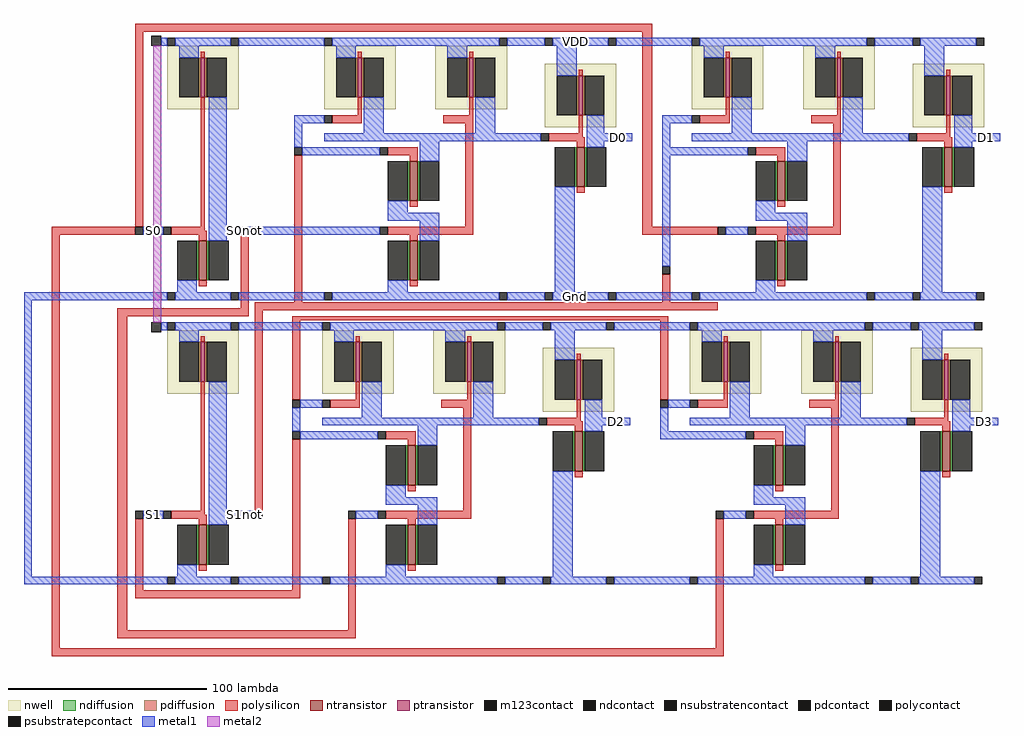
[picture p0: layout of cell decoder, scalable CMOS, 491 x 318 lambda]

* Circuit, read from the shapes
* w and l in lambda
.subckt decoder D0 D1 D2 D3 Gnd S0 S0not S1 S1not VDD
M1 S1not S1 Gnd Gnd nfet w=20 l=4
M2 S0not S0 Gnd Gnd nfet w=20 l=4
M3 n1 S0not Gnd Gnd nfet w=20 l=4
M4 n2 S1 n1 Gnd nfet w=20 l=4
M5 n3 S0not Gnd Gnd nfet w=20 l=4
M6 n4 S1not n3 Gnd nfet w=20 l=4
M7 D2 n2 Gnd Gnd nfet w=20 l=4
M8 D0 n4 Gnd Gnd nfet w=20 l=4
M9 n5 S0 Gnd Gnd nfet w=20 l=4
M10 n6 S1 n5 Gnd nfet w=20 l=4
M11 n7 S0 Gnd Gnd nfet w=20 l=4
M12 n8 S1not n7 Gnd nfet w=20 l=4
M13 D3 n6 Gnd Gnd nfet w=20 l=4
M14 D1 n8 Gnd Gnd nfet w=20 l=4
M15 S1not S1 VDD n9 pfet w=20 l=2
M16 S0not S0 VDD n10 pfet w=20 l=2
M17 n2 S1 VDD n11 pfet w=20 l=2
M18 n4 S1not VDD n12 pfet w=20 l=2
M19 n2 S0not VDD n13 pfet w=20 l=2
M20 n4 S0not VDD n14 pfet w=20 l=2
M21 D2 n2 VDD n15 pfet w=20 l=2
M22 D0 n4 VDD n16 pfet w=20 l=2
M23 n6 S1 VDD n17 pfet w=20 l=2
M24 n8 S1not VDD n18 pfet w=20 l=2
M25 n6 S0 VDD n19 pfet w=20 l=2
M26 n8 S0 VDD n20 pfet w=20 l=2
M27 D3 n6 VDD n21 pfet w=20 l=2
M28 D1 n8 VDD n22 pfet w=20 l=2
.ends

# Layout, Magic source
magic
tech scmos
<< nwell >>
rect 236 -102 272 -70
rect 315 -102 351 -70
rect 371 -102 407 -70
rect 426 -111 462 -79
rect 500 -102 536 -70
rect 556 -102 592 -70
rect 611 -111 647 -79
rect 236 -245 272 -213
rect 314 -245 350 -213
rect 370 -245 406 -213
rect 425 -254 461 -222
rect 499 -245 535 -213
rect 555 -245 591 -213
rect 610 -254 646 -222
<< ntransistor >>
rect 252 -188 256 -168
rect 358 -148 362 -128
rect 442 -141 446 -121
rect 543 -148 547 -128
rect 627 -141 631 -121
rect 358 -188 362 -168
rect 543 -188 547 -168
rect 252 -331 256 -311
rect 357 -291 361 -271
rect 441 -284 445 -264
rect 542 -291 546 -271
rect 626 -284 630 -264
rect 357 -331 361 -311
rect 542 -331 546 -311
<< ptransistor >>
rect 253 -96 255 -76
rect 332 -96 334 -76
rect 388 -96 390 -76
rect 443 -105 445 -85
rect 517 -96 519 -76
rect 573 -96 575 -76
rect 628 -105 630 -85
rect 253 -239 255 -219
rect 331 -239 333 -219
rect 387 -239 389 -219
rect 442 -248 444 -228
rect 516 -239 518 -219
rect 572 -239 574 -219
rect 627 -248 629 -228
<< ndiffusion >>
rect 251 -188 252 -168
rect 256 -188 257 -168
rect 357 -148 358 -128
rect 362 -148 363 -128
rect 441 -141 442 -121
rect 446 -141 447 -121
rect 542 -148 543 -128
rect 547 -148 548 -128
rect 626 -141 627 -121
rect 631 -141 632 -121
rect 357 -188 358 -168
rect 362 -188 363 -168
rect 542 -188 543 -168
rect 547 -188 548 -168
rect 251 -331 252 -311
rect 256 -331 257 -311
rect 356 -291 357 -271
rect 361 -291 362 -271
rect 440 -284 441 -264
rect 445 -284 446 -264
rect 541 -291 542 -271
rect 546 -291 547 -271
rect 625 -284 626 -264
rect 630 -284 631 -264
rect 356 -331 357 -311
rect 361 -331 362 -311
rect 541 -331 542 -311
rect 546 -331 547 -311
<< pdiffusion >>
rect 252 -96 253 -76
rect 255 -96 256 -76
rect 331 -96 332 -76
rect 334 -96 335 -76
rect 387 -96 388 -76
rect 390 -96 391 -76
rect 442 -105 443 -85
rect 445 -105 446 -85
rect 516 -96 517 -76
rect 519 -96 520 -76
rect 572 -96 573 -76
rect 575 -96 576 -76
rect 627 -105 628 -85
rect 630 -105 631 -85
rect 252 -239 253 -219
rect 255 -239 256 -219
rect 330 -239 331 -219
rect 333 -239 334 -219
rect 386 -239 387 -219
rect 389 -239 390 -219
rect 441 -248 442 -228
rect 444 -248 445 -228
rect 515 -239 516 -219
rect 518 -239 519 -219
rect 571 -239 572 -219
rect 574 -239 575 -219
rect 626 -248 627 -228
rect 629 -248 630 -228
<< ndcontact >>
rect 241 -188 251 -168
rect 257 -188 267 -168
rect 347 -148 357 -128
rect 363 -148 373 -128
rect 431 -141 441 -121
rect 447 -141 457 -121
rect 532 -148 542 -128
rect 548 -148 558 -128
rect 616 -141 626 -121
rect 632 -141 642 -121
rect 347 -188 357 -168
rect 363 -188 373 -168
rect 532 -188 542 -168
rect 548 -188 558 -168
rect 241 -331 251 -311
rect 257 -331 267 -311
rect 346 -291 356 -271
rect 362 -291 372 -271
rect 430 -284 440 -264
rect 446 -284 456 -264
rect 531 -291 541 -271
rect 547 -291 557 -271
rect 615 -284 625 -264
rect 631 -284 641 -264
rect 346 -331 356 -311
rect 362 -331 372 -311
rect 531 -331 541 -311
rect 547 -331 557 -311
<< pdcontact >>
rect 242 -96 252 -76
rect 256 -96 266 -76
rect 321 -96 331 -76
rect 335 -96 345 -76
rect 377 -96 387 -76
rect 391 -96 401 -76
rect 432 -105 442 -85
rect 446 -105 456 -85
rect 506 -96 516 -76
rect 520 -96 530 -76
rect 562 -96 572 -76
rect 576 -96 586 -76
rect 617 -105 627 -85
rect 631 -105 641 -85
rect 242 -239 252 -219
rect 256 -239 266 -219
rect 320 -239 330 -219
rect 334 -239 344 -219
rect 376 -239 386 -219
rect 390 -239 400 -219
rect 431 -248 441 -228
rect 445 -248 455 -228
rect 505 -239 515 -219
rect 519 -239 529 -219
rect 561 -239 571 -219
rect 575 -239 585 -219
rect 616 -248 626 -228
rect 630 -248 640 -228
<< psubstratepcontact >>
rect 236 -198 240 -194
rect 268 -198 272 -194
rect 315 -198 319 -194
rect 403 -198 407 -194
rect 426 -198 430 -194
rect 458 -198 462 -194
rect 500 -198 504 -194
rect 588 -198 592 -194
rect 611 -198 615 -194
rect 643 -198 647 -194
rect 236 -341 240 -337
rect 268 -341 272 -337
rect 314 -341 318 -337
rect 402 -341 406 -337
rect 425 -341 429 -337
rect 457 -341 461 -337
rect 499 -341 503 -337
rect 587 -341 591 -337
rect 610 -341 614 -337
rect 642 -341 646 -337
<< nsubstratencontact >>
rect 236 -70 240 -66
rect 268 -70 272 -66
rect 315 -70 319 -66
rect 403 -70 407 -66
rect 426 -70 430 -66
rect 458 -70 462 -66
rect 500 -70 504 -66
rect 588 -70 592 -66
rect 611 -70 615 -66
rect 643 -70 647 -66
rect 236 -213 240 -209
rect 268 -213 272 -209
rect 314 -213 318 -209
rect 402 -213 406 -209
rect 425 -213 429 -209
rect 457 -213 461 -209
rect 499 -213 503 -209
rect 587 -213 591 -209
rect 610 -213 614 -209
rect 642 -213 646 -209
<< polysilicon >>
rect 220 -63 480 -59
rect 220 -161 224 -63
rect 253 -76 255 -73
rect 332 -76 334 -73
rect 388 -76 390 -73
rect 443 -85 445 -82
rect 253 -161 255 -96
rect 332 -105 334 -96
rect 388 -105 390 -96
rect 319 -109 334 -105
rect 375 -109 390 -105
rect 347 -125 362 -121
rect 178 -165 220 -161
rect 238 -163 255 -161
rect 238 -165 256 -163
rect 178 -373 182 -165
rect 252 -168 256 -165
rect 252 -191 256 -188
rect 273 -202 277 -165
rect 300 -199 304 -125
rect 358 -128 362 -125
rect 358 -151 362 -148
rect 386 -161 390 -109
rect 443 -114 445 -105
rect 428 -116 445 -114
rect 428 -118 446 -116
rect 442 -121 446 -118
rect 442 -144 446 -141
rect 347 -165 390 -161
rect 475 -161 480 -63
rect 517 -76 519 -73
rect 573 -76 575 -73
rect 628 -85 630 -82
rect 517 -105 519 -96
rect 573 -105 575 -96
rect 504 -109 519 -105
rect 560 -109 575 -105
rect 532 -125 547 -121
rect 543 -128 547 -125
rect 543 -151 547 -148
rect 571 -161 575 -109
rect 628 -114 630 -105
rect 613 -116 630 -114
rect 613 -118 631 -116
rect 627 -121 631 -118
rect 627 -144 631 -141
rect 475 -165 513 -161
rect 532 -165 575 -161
rect 358 -168 362 -165
rect 543 -168 547 -165
rect 358 -191 362 -188
rect 485 -199 489 -185
rect 543 -191 547 -188
rect 211 -206 277 -202
rect 280 -203 513 -199
rect 211 -364 216 -206
rect 253 -219 255 -216
rect 253 -304 255 -239
rect 238 -306 255 -304
rect 280 -304 284 -203
rect 299 -208 488 -206
rect 299 -248 303 -208
rect 331 -219 333 -216
rect 387 -219 389 -216
rect 442 -228 444 -225
rect 331 -248 333 -239
rect 387 -248 389 -239
rect 484 -248 488 -208
rect 516 -219 518 -216
rect 572 -219 574 -216
rect 627 -228 629 -225
rect 516 -248 518 -239
rect 572 -248 574 -239
rect 318 -252 333 -248
rect 374 -252 389 -248
rect 238 -308 256 -306
rect 346 -268 361 -264
rect 220 -344 224 -308
rect 252 -311 256 -308
rect 252 -334 256 -331
rect 299 -344 303 -268
rect 357 -271 361 -268
rect 357 -294 361 -291
rect 385 -304 389 -252
rect 442 -257 444 -248
rect 503 -252 518 -248
rect 559 -252 574 -248
rect 427 -259 444 -257
rect 427 -261 445 -259
rect 441 -264 445 -261
rect 531 -268 546 -264
rect 542 -271 546 -268
rect 441 -287 445 -284
rect 542 -294 546 -291
rect 570 -304 574 -252
rect 627 -257 629 -248
rect 612 -259 629 -257
rect 612 -261 630 -259
rect 626 -264 630 -261
rect 626 -287 630 -284
rect 346 -308 389 -304
rect 531 -308 574 -304
rect 220 -348 303 -344
rect 327 -364 331 -308
rect 357 -311 361 -308
rect 357 -334 361 -331
rect 211 -368 331 -364
rect 512 -373 516 -308
rect 542 -311 546 -308
rect 542 -334 546 -331
rect 178 -377 516 -373
<< polycontact >>
rect 315 -109 319 -105
rect 300 -125 304 -121
rect 343 -125 347 -121
rect 220 -165 224 -161
rect 234 -165 238 -161
rect 273 -165 277 -161
rect 424 -118 428 -114
rect 343 -165 347 -161
rect 500 -109 504 -105
rect 528 -125 532 -121
rect 609 -118 613 -114
rect 513 -165 517 -161
rect 528 -165 532 -161
rect 485 -185 489 -181
rect 220 -308 224 -304
rect 234 -308 238 -304
rect 299 -252 303 -248
rect 314 -252 318 -248
rect 280 -308 284 -304
rect 299 -268 303 -264
rect 342 -268 346 -264
rect 484 -252 488 -248
rect 499 -252 503 -248
rect 423 -261 427 -257
rect 527 -268 531 -264
rect 608 -261 612 -257
rect 327 -308 331 -304
rect 342 -308 346 -304
rect 512 -308 516 -304
rect 527 -308 531 -304
<< metal1 >>
rect 233 -70 236 -66
rect 240 -70 268 -66
rect 272 -70 315 -66
rect 319 -70 403 -66
rect 407 -70 426 -66
rect 430 -70 458 -66
rect 462 -70 500 -66
rect 504 -70 588 -66
rect 592 -70 611 -66
rect 615 -70 643 -66
rect 242 -76 252 -70
rect 321 -76 331 -70
rect 377 -76 387 -70
rect 257 -161 266 -96
rect 300 -109 315 -105
rect 300 -121 304 -109
rect 335 -114 345 -96
rect 391 -114 401 -96
rect 432 -85 442 -70
rect 506 -76 516 -70
rect 562 -76 572 -70
rect 447 -114 456 -105
rect 485 -109 500 -105
rect 315 -118 424 -114
rect 447 -118 470 -114
rect 304 -125 343 -121
rect 363 -128 373 -118
rect 447 -121 456 -118
rect 485 -121 489 -109
rect 520 -114 530 -96
rect 576 -114 586 -96
rect 617 -85 627 -70
rect 632 -114 641 -105
rect 500 -118 609 -114
rect 632 -118 655 -114
rect 485 -125 528 -121
rect 347 -154 357 -148
rect 347 -158 373 -154
rect 224 -165 234 -161
rect 257 -165 273 -161
rect 277 -165 343 -161
rect 257 -168 266 -165
rect 363 -168 373 -158
rect 241 -194 251 -188
rect 347 -194 357 -188
rect 431 -194 441 -141
rect 485 -181 489 -125
rect 548 -128 558 -118
rect 632 -121 641 -118
rect 532 -154 542 -148
rect 532 -158 558 -154
rect 517 -165 528 -161
rect 548 -168 558 -158
rect 532 -194 542 -188
rect 616 -194 626 -141
rect 164 -198 236 -194
rect 240 -198 268 -194
rect 272 -198 315 -194
rect 319 -198 403 -194
rect 407 -198 426 -194
rect 430 -198 458 -194
rect 462 -198 500 -194
rect 504 -198 588 -194
rect 592 -198 611 -194
rect 615 -198 643 -194
rect 164 -337 168 -198
rect 233 -213 236 -209
rect 240 -213 268 -209
rect 272 -213 314 -209
rect 318 -213 402 -209
rect 406 -213 425 -209
rect 429 -213 457 -209
rect 461 -213 499 -209
rect 503 -213 587 -209
rect 591 -213 610 -209
rect 614 -213 642 -209
rect 242 -219 252 -213
rect 320 -219 330 -213
rect 376 -219 386 -213
rect 257 -304 266 -239
rect 303 -252 314 -248
rect 299 -264 303 -252
rect 334 -257 344 -239
rect 390 -257 400 -239
rect 431 -228 441 -213
rect 505 -219 515 -213
rect 561 -219 571 -213
rect 446 -257 455 -248
rect 488 -252 499 -248
rect 314 -261 423 -257
rect 446 -261 469 -257
rect 303 -268 342 -264
rect 362 -271 372 -261
rect 446 -264 455 -261
rect 484 -264 488 -252
rect 519 -257 529 -239
rect 575 -257 585 -239
rect 616 -228 626 -213
rect 631 -257 640 -248
rect 499 -261 608 -257
rect 631 -261 654 -257
rect 484 -268 527 -264
rect 547 -271 557 -261
rect 631 -264 640 -261
rect 346 -297 356 -291
rect 346 -301 372 -297
rect 224 -308 234 -304
rect 257 -308 280 -304
rect 331 -308 342 -304
rect 257 -311 266 -308
rect 362 -311 372 -301
rect 241 -337 251 -331
rect 346 -337 356 -331
rect 430 -337 440 -284
rect 531 -297 541 -291
rect 531 -301 557 -297
rect 516 -308 527 -304
rect 547 -311 557 -301
rect 531 -337 541 -331
rect 615 -337 625 -284
rect 164 -341 236 -337
rect 240 -341 268 -337
rect 272 -341 314 -337
rect 318 -341 402 -337
rect 406 -341 425 -337
rect 429 -341 457 -337
rect 461 -341 499 -337
rect 503 -341 587 -337
rect 591 -341 610 -337
rect 614 -341 642 -337
<< metal2 >>
rect 229 -209 233 -70
<< m123contact >>
rect 228 -70 233 -65
rect 228 -214 233 -209
<< labels >>
rlabel metal1 220 -165 238 -161 1 S0
rlabel metal1 220 -308 238 -304 1 S1
rlabel metal1 266 -165 284 -161 1 S0not
rlabel metal1 266 -308 284 -304 1 S1not
rlabel metal1 456 -118 470 -114 1 D0
rlabel metal1 641 -118 655 -114 1 D1
rlabel metal1 640 -261 654 -257 1 D3
rlabel metal1 455 -261 469 -257 1 D2
rlabel metal1 236 -70 647 -66 1 VDD
rlabel metal1 236 -198 647 -194 1 Gnd
<< end >>
